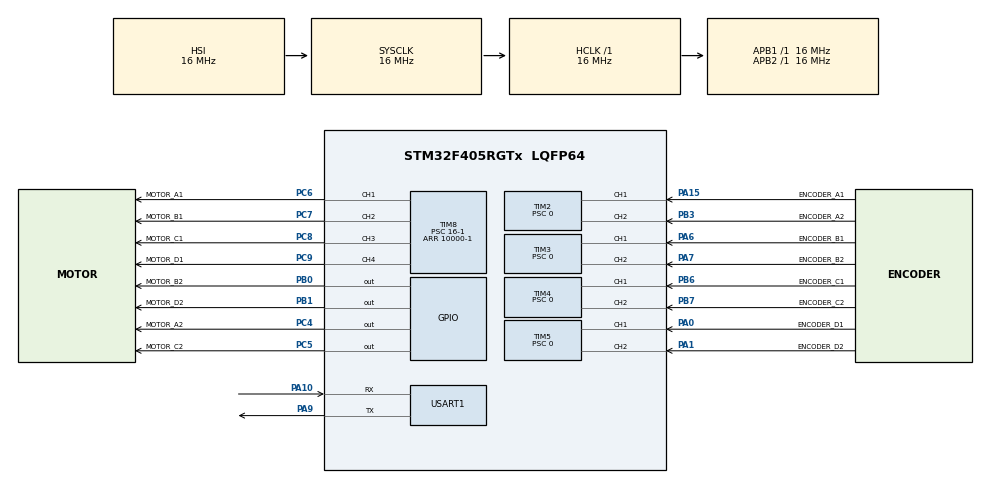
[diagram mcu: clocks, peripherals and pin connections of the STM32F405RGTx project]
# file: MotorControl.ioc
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Mcu.Family=STM32F4
RCC.CortexFreq_Value=16000000
TIM4.EncoderMode=TIM_ENCODERMODE_TI12
TIM5.EncoderMode=TIM_ENCODERMODE_TI12
TIM3.EncoderMode=TIM_ENCODERMODE_TI12
SH.S_TIM5_CH2.0=TIM5_CH2,Encoder_Interface
PC6.GPIO_Label=MOTOR_A1
PA6.GPIO_Label=ENCODER_B1
PB0.GPIO_Label=MOTOR_B2
PB6.GPIO_Label=ENCODER_C1
TIM2.EncoderMode=TIM_ENCODERMODE_TI12
TIM8.Channel-PWM\ Generation4\ CH4=TIM_CHANNEL_4
ProjectManager.StackSize=0x400
PA15.GPIO_Label=ENCODER_A1
TIM8.Channel-PWM\ Generation1\ CH1=TIM_CHANNEL_1
TIM3.Period=65535
PB6.Signal=S_TIM4_CH1
PC7.Signal=S_TIM8_CH2
RCC.AHBFreq_Value=16000000
RCC.HSE_VALUE=25000000
PC4.GPIO_Label=MOTOR_A2
TIM3.Prescaler=0
PB1.GPIO_Label=MOTOR_D2
SH.S_TIM4_CH2.0=TIM4_CH2,Encoder_Interface
PB7.Signal=S_TIM4_CH2
SH.S_TIM3_CH1.0=TIM3_CH1,Encoder_Interface
TIM4.Period=65535
PB7.GPIO_Label=ENCODER_C2
Mcu.Package=LQFP64
TIM2.Prescaler=0
PB1.Signal=GPIO_Output
PA6.Signal=S_TIM3_CH1
TIM8.Channel-PWM\ Generation3\ CH3=TIM_CHANNEL_3
SH.S_TIM8_CH4.0=TIM8_CH4,PWM Generation4 CH4
PA10.Signal=USART1_RX
TIM8.Channel-PWM\ Generation2\ CH2=TIM_CHANNEL_2
PA15.Signal=S_TIM2_CH1_ETR
TIM8.Prescaler=16-1
SH.S_TIM4_CH1.0=TIM4_CH1,Encoder_Interface
SH.S_TIM5_CH1.0=TIM5_CH1,Encoder_Interface
PC5.Signal=GPIO_Output
NVIC.USART1_IRQn=true\:0\:0\:false\:false\:true\:true\:true
SH.S_TIM8_CH3.0=TIM8_CH3,PWM Generation3 CH3
PB3.GPIO_Label=ENCODER_A2
PA10.Mode=Asynchronous
PC9.GPIO_Label=MOTOR_D1
PC8.Signal=S_TIM8_CH3
PC4.Signal=GPIO_Output
PC6.Signal=S_TIM8_CH1
SH.S_TIM8_CH2.0=TIM8_CH2,PWM Generation2 CH2
PA0-WKUP.GPIO_Label=ENCODER_D1
PA0-WKUP.Signal=S_TIM5_CH1
PC8.GPIO_Label=MOTOR_C1
SH.S_TIM2_CH2.0=TIM2_CH2,Encoder_Interface
PA9.Mode=Asynchronous
ProjectManager.TargetToolchain=MDK-ARM V5.27
PA9.Signal=USART1_TX
VP_TIM8_VS_ClockSourceINT.Mode=Internal
TIM4.Prescaler=0
RCC.LSE_VALUE=32768
PA1.Signal=S_TIM5_CH2
SH.S_TIM3_CH2.0=TIM3_CH2,Encoder_Interface
SH.S_TIM8_CH1.0=TIM8_CH1,PWM Generation1 CH1
board=custom
RCC.VCOOutputFreq_Value=192000000
RCC.APB2Freq_Value=16000000
PA1.GPIO_Label=ENCODER_D2
TIM2.Period=65535
Mcu.Name=STM32F405RGTx
TIM8.Period=10000-1
PC7.GPIO_Label=MOTOR_B1
PB3.Signal=S_TIM2_CH2
RCC.SYSCLKFreq_VALUE=16000000
PA7.GPIO_Label=ENCODER_B2
TIM5.Prescaler=0
PC5.GPIO_Label=MOTOR_C2
USART1.VirtualMode=VM_ASYNC
SH.S_TIM2_CH1_ETR.0=TIM2_CH1,Encoder_Interface
ProjectManager.HeapSize=0x200
RCC.HSI_VALUE=16000000
NVIC.PriorityGroup=NVIC_PRIORITYGROUP_4
TIM5.Period=65535
PC9.Signal=S_TIM8_CH4
RCC.APB1Freq_Value=16000000
PB0.Signal=GPIO_Output
PA7.Signal=S_TIM3_CH2

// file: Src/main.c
/* USER CODE BEGIN Header */
/**
  ******************************************************************************
  * @file           : main.c
  * @brief          : Main program body
  ******************************************************************************
  * @attention
  *
  * <h2><center>&copy; Copyright (c) 2020 STMicroelectronics.
  * All rights reserved.</center></h2>
  *
  * This software component is licensed by ST under BSD 3-Clause license,
  * the "License"; You may not use this file except in compliance with the
  * License. You may obtain a copy of the License at:
  *                        opensource.org/licenses/BSD-3-Clause
  *
  ******************************************************************************
  */
/* USER CODE END Header */

#include "main.h"

/* USER CODE BEGIN Includes */
#include "motor.h"
#include "message.h"
#include <string.h>
#include <stdio.h>
/* USER CODE END Includes */

TIM_HandleTypeDef htim2;
TIM_HandleTypeDef htim3;
TIM_HandleTypeDef htim4;
TIM_HandleTypeDef htim5;
TIM_HandleTypeDef htim8;

UART_HandleTypeDef huart1;

void SystemClock_Config(void);
static void MX_GPIO_Init(void);
static void MX_TIM2_Init(void);
static void MX_TIM3_Init(void);
static void MX_TIM4_Init(void);
static void MX_TIM5_Init(void);
static void MX_TIM8_Init(void);
static void MX_USART1_UART_Init(void);

/* USER CODE BEGIN 0 */
HardwareResource g_HR;

/* USER CODE END 0 */

int main(void)
{
  /* USER CODE BEGIN 1 */
	float speed = 0,step = 0.1;
	char data[128];
  /* USER CODE END 1 */

  /* MCU Configuration--------------------------------------------------------*/

  /* Reset of all peripherals, Initializes the Flash interface and the Systick. */
  HAL_Init();

  /* Configure the system clock */
  SystemClock_Config();

  /* Initialize all configured peripherals */
  MX_GPIO_Init();
  MX_TIM2_Init();
  MX_TIM3_Init();
  MX_TIM4_Init();
  MX_TIM5_Init();
  MX_TIM8_Init();
  MX_USART1_UART_Init();
  /* USER CODE BEGIN 2 */
	FIFOBufferInit(&g_TxBuffer);
	FIFOBufferInit(&g_RxBuffer);

	g_HR.pTimer2 = &htim2;
	g_HR.pTimer3 = &htim3;
	g_HR.pTimer4 = &htim4;
	g_HR.pTimer5 = &htim5;
	g_HR.pTimer8 = &htim8;
	g_HR.pUART1 = &huart1;

	MessageStartReceive();

	StartMotor(1);
	StartMotor(2);
	StartMotor(3);
	StartMotor(4);

  /* USER CODE END 2 */

  /* Infinite loop */
  while (1)
  {

    /* USER CODE BEGIN 3 */
		HAL_Delay(1000);
		speed += step;
		if(speed > 1){
			speed = 1;
			step = -0.1;
		}
		else if(speed < 0){
			speed = 0;
			step = 0.1;
		}
		SetMotorSpeed(1,speed);
		SetMotorSpeed(2,speed);
		SetMotorSpeed(3,speed);
		SetMotorSpeed(4,speed);
		int pulse1 = GetMotorSpeed(1);
		int pulse2 = GetMotorSpeed(2);
		int pulse3 = GetMotorSpeed(3);
		int pulse4 = GetMotorSpeed(4);

		unsigned short cmdSize = MessageGetCmd(data,128);
		if(cmdSize > 0){
			MessageSendData(data,cmdSize);
		}

  }
  /* USER CODE END 3 */
}

void SystemClock_Config(void)
{
  RCC_OscInitTypeDef RCC_OscInitStruct = {0};
  RCC_ClkInitTypeDef RCC_ClkInitStruct = {0};

  /** Configure the main internal regulator output voltage
  */
  __HAL_RCC_PWR_CLK_ENABLE();
  __HAL_PWR_VOLTAGESCALING_CONFIG(PWR_REGULATOR_VOLTAGE_SCALE1);
  /** Initializes the CPU, AHB and APB busses clocks
  */
  RCC_OscInitStruct.OscillatorType = RCC_OSCILLATORTYPE_HSI;
  RCC_OscInitStruct.HSIState = RCC_HSI_ON;
  RCC_OscInitStruct.HSICalibrationValue = RCC_HSICALIBRATION_DEFAULT;
  RCC_OscInitStruct.PLL.PLLState = RCC_PLL_NONE;
  if (HAL_RCC_OscConfig(&RCC_OscInitStruct) != HAL_OK)
  {
    Error_Handler();
  }
  /** Initializes the CPU, AHB and APB busses clocks
  */
  RCC_ClkInitStruct.ClockType = RCC_CLOCKTYPE_HCLK|RCC_CLOCKTYPE_SYSCLK
                              |RCC_CLOCKTYPE_PCLK1|RCC_CLOCKTYPE_PCLK2;
  RCC_ClkInitStruct.SYSCLKSource = RCC_SYSCLKSOURCE_HSI;
  RCC_ClkInitStruct.AHBCLKDivider = RCC_SYSCLK_DIV1;
  RCC_ClkInitStruct.APB1CLKDivider = RCC_HCLK_DIV1;
  RCC_ClkInitStruct.APB2CLKDivider = RCC_HCLK_DIV1;

  if (HAL_RCC_ClockConfig(&RCC_ClkInitStruct, FLASH_LATENCY_0) != HAL_OK)
  {
    Error_Handler();
  }
}

static void MX_TIM2_Init(void)
{

  TIM_Encoder_InitTypeDef sConfig = {0};
  TIM_MasterConfigTypeDef sMasterConfig = {0};

  htim2.Instance = TIM2;
  htim2.Init.Prescaler = 0;
  htim2.Init.CounterMode = TIM_COUNTERMODE_UP;
  htim2.Init.Period = 65535;
  htim2.Init.ClockDivision = TIM_CLOCKDIVISION_DIV1;
  htim2.Init.AutoReloadPreload = TIM_AUTORELOAD_PRELOAD_DISABLE;
  sConfig.EncoderMode = TIM_ENCODERMODE_TI12;
  sConfig.IC1Polarity = TIM_ICPOLARITY_RISING;
  sConfig.IC1Selection = TIM_ICSELECTION_DIRECTTI;
  sConfig.IC1Prescaler = TIM_ICPSC_DIV1;
  sConfig.IC1Filter = 0;
  sConfig.IC2Polarity = TIM_ICPOLARITY_RISING;
  sConfig.IC2Selection = TIM_ICSELECTION_DIRECTTI;
  sConfig.IC2Prescaler = TIM_ICPSC_DIV1;
  sConfig.IC2Filter = 0;
  if (HAL_TIM_Encoder_Init(&htim2, &sConfig) != HAL_OK)
  {
    Error_Handler();
  }
  sMasterConfig.MasterOutputTrigger = TIM_TRGO_RESET;
  sMasterConfig.MasterSlaveMode = TIM_MASTERSLAVEMODE_DISABLE;
  if (HAL_TIMEx_MasterConfigSynchronization(&htim2, &sMasterConfig) != HAL_OK)
  {
    Error_Handler();
  }

}

static void MX_TIM3_Init(void)
{

  TIM_Encoder_InitTypeDef sConfig = {0};
  TIM_MasterConfigTypeDef sMasterConfig = {0};

  htim3.Instance = TIM3;
  htim3.Init.Prescaler = 0;
  htim3.Init.CounterMode = TIM_COUNTERMODE_UP;
  htim3.Init.Period = 65535;
  htim3.Init.ClockDivision = TIM_CLOCKDIVISION_DIV1;
  htim3.Init.AutoReloadPreload = TIM_AUTORELOAD_PRELOAD_DISABLE;
  sConfig.EncoderMode = TIM_ENCODERMODE_TI12;
  sConfig.IC1Polarity = TIM_ICPOLARITY_RISING;
  sConfig.IC1Selection = TIM_ICSELECTION_DIRECTTI;
  sConfig.IC1Prescaler = TIM_ICPSC_DIV1;
  sConfig.IC1Filter = 0;
  sConfig.IC2Polarity = TIM_ICPOLARITY_RISING;
  sConfig.IC2Selection = TIM_ICSELECTION_DIRECTTI;
  sConfig.IC2Prescaler = TIM_ICPSC_DIV1;
  sConfig.IC2Filter = 0;
  if (HAL_TIM_Encoder_Init(&htim3, &sConfig) != HAL_OK)
  {
    Error_Handler();
  }
  sMasterConfig.MasterOutputTrigger = TIM_TRGO_RESET;
  sMasterConfig.MasterSlaveMode = TIM_MASTERSLAVEMODE_DISABLE;
  if (HAL_TIMEx_MasterConfigSynchronization(&htim3, &sMasterConfig) != HAL_OK)
  {
    Error_Handler();
  }

}

static void MX_TIM4_Init(void)
{

  TIM_Encoder_InitTypeDef sConfig = {0};
  TIM_MasterConfigTypeDef sMasterConfig = {0};

  htim4.Instance = TIM4;
  htim4.Init.Prescaler = 0;
  htim4.Init.CounterMode = TIM_COUNTERMODE_UP;
  htim4.Init.Period = 65535;
  htim4.Init.ClockDivision = TIM_CLOCKDIVISION_DIV1;
  htim4.Init.AutoReloadPreload = TIM_AUTORELOAD_PRELOAD_DISABLE;
  sConfig.EncoderMode = TIM_ENCODERMODE_TI12;
  sConfig.IC1Polarity = TIM_ICPOLARITY_RISING;
  sConfig.IC1Selection = TIM_ICSELECTION_DIRECTTI;
  sConfig.IC1Prescaler = TIM_ICPSC_DIV1;
  sConfig.IC1Filter = 0;
  sConfig.IC2Polarity = TIM_ICPOLARITY_RISING;
  sConfig.IC2Selection = TIM_ICSELECTION_DIRECTTI;
  sConfig.IC2Prescaler = TIM_ICPSC_DIV1;
  sConfig.IC2Filter = 0;
  if (HAL_TIM_Encoder_Init(&htim4, &sConfig) != HAL_OK)
  {
    Error_Handler();
  }
  sMasterConfig.MasterOutputTrigger = TIM_TRGO_RESET;
  sMasterConfig.MasterSlaveMode = TIM_MASTERSLAVEMODE_DISABLE;
  if (HAL_TIMEx_MasterConfigSynchronization(&htim4, &sMasterConfig) != HAL_OK)
  {
    Error_Handler();
  }

}

static void MX_TIM5_Init(void)
{

  TIM_Encoder_InitTypeDef sConfig = {0};
  TIM_MasterConfigTypeDef sMasterConfig = {0};

  htim5.Instance = TIM5;
  htim5.Init.Prescaler = 0;
  htim5.Init.CounterMode = TIM_COUNTERMODE_UP;
  htim5.Init.Period = 65535;
  htim5.Init.ClockDivision = TIM_CLOCKDIVISION_DIV1;
  htim5.Init.AutoReloadPreload = TIM_AUTORELOAD_PRELOAD_DISABLE;
  sConfig.EncoderMode = TIM_ENCODERMODE_TI12;
  sConfig.IC1Polarity = TIM_ICPOLARITY_RISING;
  sConfig.IC1Selection = TIM_ICSELECTION_DIRECTTI;
  sConfig.IC1Prescaler = TIM_ICPSC_DIV1;
  sConfig.IC1Filter = 0;
  sConfig.IC2Polarity = TIM_ICPOLARITY_RISING;
  sConfig.IC2Selection = TIM_ICSELECTION_DIRECTTI;
  sConfig.IC2Prescaler = TIM_ICPSC_DIV1;
  sConfig.IC2Filter = 0;
  if (HAL_TIM_Encoder_Init(&htim5, &sConfig) != HAL_OK)
  {
    Error_Handler();
  }
  sMasterConfig.MasterOutputTrigger = TIM_TRGO_RESET;
  sMasterConfig.MasterSlaveMode = TIM_MASTERSLAVEMODE_DISABLE;
  if (HAL_TIMEx_MasterConfigSynchronization(&htim5, &sMasterConfig) != HAL_OK)
  {
    Error_Handler();
  }

}

static void MX_TIM8_Init(void)
{

  TIM_ClockConfigTypeDef sClockSourceConfig = {0};
  TIM_MasterConfigTypeDef sMasterConfig = {0};
  TIM_OC_InitTypeDef sConfigOC = {0};
  TIM_BreakDeadTimeConfigTypeDef sBreakDeadTimeConfig = {0};

  htim8.Instance = TIM8;
  htim8.Init.Prescaler = 16-1;
  htim8.Init.CounterMode = TIM_COUNTERMODE_UP;
  htim8.Init.Period = 10000-1;
  htim8.Init.ClockDivision = TIM_CLOCKDIVISION_DIV1;
  htim8.Init.RepetitionCounter = 0;
  htim8.Init.AutoReloadPreload = TIM_AUTORELOAD_PRELOAD_DISABLE;
  if (HAL_TIM_Base_Init(&htim8) != HAL_OK)
  {
    Error_Handler();
  }
  sClockSourceConfig.ClockSource = TIM_CLOCKSOURCE_INTERNAL;
  if (HAL_TIM_ConfigClockSource(&htim8, &sClockSourceConfig) != HAL_OK)
  {
    Error_Handler();
  }
  if (HAL_TIM_PWM_Init(&htim8) != HAL_OK)
  {
    Error_Handler();
  }
  sMasterConfig.MasterOutputTrigger = TIM_TRGO_RESET;
  sMasterConfig.MasterSlaveMode = TIM_MASTERSLAVEMODE_DISABLE;
  if (HAL_TIMEx_MasterConfigSynchronization(&htim8, &sMasterConfig) != HAL_OK)
  {
    Error_Handler();
  }
  sConfigOC.OCMode = TIM_OCMODE_PWM1;
  sConfigOC.Pulse = 0;
  sConfigOC.OCPolarity = TIM_OCPOLARITY_HIGH;
  sConfigOC.OCNPolarity = TIM_OCNPOLARITY_HIGH;
  sConfigOC.OCFastMode = TIM_OCFAST_DISABLE;
  sConfigOC.OCIdleState = TIM_OCIDLESTATE_RESET;
  sConfigOC.OCNIdleState = TIM_OCNIDLESTATE_RESET;
  if (HAL_TIM_PWM_ConfigChannel(&htim8, &sConfigOC, TIM_CHANNEL_1) != HAL_OK)
  {
    Error_Handler();
  }
  if (HAL_TIM_PWM_ConfigChannel(&htim8, &sConfigOC, TIM_CHANNEL_2) != HAL_OK)
  {
    Error_Handler();
  }
  if (HAL_TIM_PWM_ConfigChannel(&htim8, &sConfigOC, TIM_CHANNEL_3) != HAL_OK)
  {
    Error_Handler();
  }
  if (HAL_TIM_PWM_ConfigChannel(&htim8, &sConfigOC, TIM_CHANNEL_4) != HAL_OK)
  {
    Error_Handler();
  }
  sBreakDeadTimeConfig.OffStateRunMode = TIM_OSSR_DISABLE;
  sBreakDeadTimeConfig.OffStateIDLEMode = TIM_OSSI_DISABLE;
  sBreakDeadTimeConfig.LockLevel = TIM_LOCKLEVEL_OFF;
  sBreakDeadTimeConfig.DeadTime = 0;
  sBreakDeadTimeConfig.BreakState = TIM_BREAK_DISABLE;
  sBreakDeadTimeConfig.BreakPolarity = TIM_BREAKPOLARITY_HIGH;
  sBreakDeadTimeConfig.AutomaticOutput = TIM_AUTOMATICOUTPUT_DISABLE;
  if (HAL_TIMEx_ConfigBreakDeadTime(&htim8, &sBreakDeadTimeConfig) != HAL_OK)
  {
    Error_Handler();
  }
  HAL_TIM_MspPostInit(&htim8);

}

static void MX_USART1_UART_Init(void)
{

  huart1.Instance = USART1;
  huart1.Init.BaudRate = 115200;
  huart1.Init.WordLength = UART_WORDLENGTH_8B;
  huart1.Init.StopBits = UART_STOPBITS_1;
  huart1.Init.Parity = UART_PARITY_NONE;
  huart1.Init.Mode = UART_MODE_TX_RX;
  huart1.Init.HwFlowCtl = UART_HWCONTROL_NONE;
  huart1.Init.OverSampling = UART_OVERSAMPLING_16;
  if (HAL_UART_Init(&huart1) != HAL_OK)
  {
    Error_Handler();
  }

}

static void MX_GPIO_Init(void)
{
  GPIO_InitTypeDef GPIO_InitStruct = {0};

  /* GPIO Ports Clock Enable */
  __HAL_RCC_GPIOA_CLK_ENABLE();
  __HAL_RCC_GPIOC_CLK_ENABLE();
  __HAL_RCC_GPIOB_CLK_ENABLE();

  /*Configure GPIO pin Output Level */
  HAL_GPIO_WritePin(GPIOC, MOTOR_A2_Pin|MOTOR_C2_Pin, GPIO_PIN_RESET);

  /*Configure GPIO pin Output Level */
  HAL_GPIO_WritePin(GPIOB, MOTOR_B2_Pin|MOTOR_D2_Pin, GPIO_PIN_RESET);

  /*Configure GPIO pins : MOTOR_A2_Pin MOTOR_C2_Pin */
  GPIO_InitStruct.Pin = MOTOR_A2_Pin|MOTOR_C2_Pin;
  GPIO_InitStruct.Mode = GPIO_MODE_OUTPUT_PP;
  GPIO_InitStruct.Pull = GPIO_NOPULL;
  GPIO_InitStruct.Speed = GPIO_SPEED_FREQ_LOW;
  HAL_GPIO_Init(GPIOC, &GPIO_InitStruct);

  /*Configure GPIO pins : MOTOR_B2_Pin MOTOR_D2_Pin */
  GPIO_InitStruct.Pin = MOTOR_B2_Pin|MOTOR_D2_Pin;
  GPIO_InitStruct.Mode = GPIO_MODE_OUTPUT_PP;
  GPIO_InitStruct.Pull = GPIO_NOPULL;
  GPIO_InitStruct.Speed = GPIO_SPEED_FREQ_LOW;
  HAL_GPIO_Init(GPIOB, &GPIO_InitStruct);

}

void Error_Handler(void)
{
}

/************************ (C) COPYRIGHT STMicroelectronics *****END OF FILE****/
